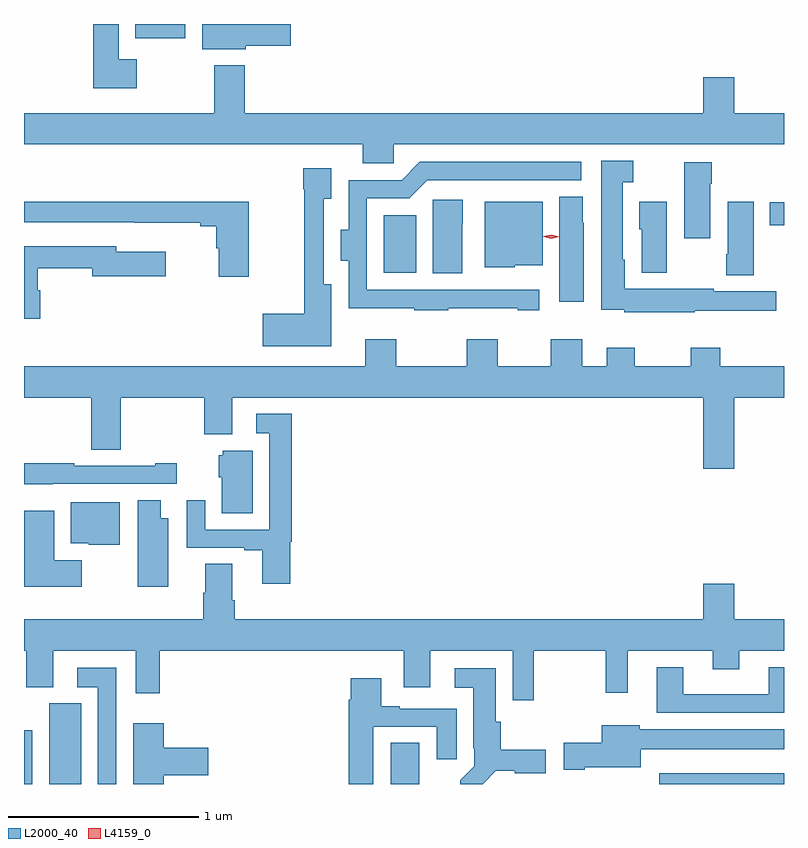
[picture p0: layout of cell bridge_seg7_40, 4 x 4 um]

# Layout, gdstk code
import gdstk
lib = gdstk.Library(unit=1e-6, precision=1e-09)
def R(c, l, rs):  # rectangles x0, y0, x1, y1
    for r in rs: c.add(gdstk.rectangle(r[:2], r[2:], *l))
def P(c, l, *ps):  # polygons
    for p in ps: c.add(gdstk.Polygon(p, *l))
L2000_40 = (2000, 40)
L4159_0 = (4159, 0)

bridge_seg7_40 = lib.new_cell('bridge_seg7_40')
R(bridge_seg7_40, L2000_40, [(892.702,1053.194,892.746,1053.478), (892.835,1053.194,893.002,1053.619), (894.632,1053.194,894.781,1053.41), (896.045,1053.194,896.702,1053.25), (894.596,1055.885,894.766,1056.187), (896.627,1056.135,896.702,1056.256), (893.288,1057.118,893.551,1057.194)])
P(bridge_seg7_40, L2000_40, [(893.296,1057.009),(893.2,1057.009),(893.2,1057.194),(893.066,1057.194),(893.066,1056.857),(893.296,1056.857)],
  [(893.868,1057.079),(894.106,1057.079),(894.106,1057.194),(893.639,1057.194),(893.639,1057.061),(893.868,1057.061)],
  [(894.648,1056.56),(896.702,1056.56),(896.702,1056.724),(896.44,1056.724),(896.44,1056.913),(896.276,1056.913),(896.276,1056.724),(893.864,1056.724),(893.864,1056.976),(893.704,1056.976),(893.704,1056.724),(892.702,1056.724),(892.702,1056.56),(894.485,1056.56),(894.485,1056.462),(894.648,1056.462)],
  [(896.232,1055.686),(896.662,1055.686),(896.662,1055.787),(896.332,1055.787),(896.332,1055.8),(895.864,1055.8),(895.864,1055.952),(895.852,1055.952),(895.852,1056.362),(895.909,1056.362),(895.909,1056.475),(895.739,1056.475),(895.739,1055.69),(895.86,1055.69),(895.86,1055.678),(896.232,1055.678)],
  [(894.935,1055.699),(895.301,1055.699),(895.301,1055.688),(895.414,1055.688),(895.414,1055.796),(894.507,1055.796),(894.507,1056.276),(894.729,1056.276),(894.825,1056.372),(895.636,1056.372),(895.636,1056.468),(894.786,1056.468),(894.69,1056.372),(894.41,1056.372),(894.41,1056.112),(894.368,1056.112),(894.368,1055.948),(894.411,1055.948),(894.411,1055.699),(894.757,1055.699),(894.757,1055.688),(894.935,1055.688)],
  [(896.314,1056.353),(896.322,1056.353),(896.322,1056.466),(896.177,1056.466),(896.177,1056.066),(896.314,1056.066)],
  [(894.319,1055.824),(894.279,1055.824),(894.279,1056.275),(894.319,1056.275),(894.319,1056.436),(894.171,1056.436),(894.171,1056.323),(894.178,1056.323),(894.178,1055.669),(893.958,1055.669),(893.958,1055.498),(894.319,1055.498)],
  [(895.648,1056.147),(895.642,1056.147),(895.642,1056.286),(895.52,1056.286),(895.52,1055.733),(895.648,1055.733)],
  [(895.009,1056.141),(895.012,1056.141),(895.012,1056.268),(894.854,1056.268),(894.854,1055.881),(895.009,1055.881)],
  [(896.542,1056.259),(896.405,1056.259),(896.405,1055.983),(896.398,1055.983),(896.398,1055.872),(896.542,1055.872)],
  [(896.086,1056.259),(895.94,1056.259),(895.94,1056.114),(895.952,1056.114),(895.952,1055.885),(896.086,1055.885)],
  [(893.884,1056.259),(892.702,1056.259),(892.702,1056.15),(893.284,1056.15),(893.284,1056.149),(893.63,1056.149),(893.63,1056.13),(893.714,1056.13),(893.714,1056.015),(893.726,1056.015),(893.726,1055.865),(893.884,1055.865)],
  [(895.284,1055.924),(895.432,1055.924),(895.432,1056.259),(895.127,1056.259),(895.127,1055.915),(895.284,1055.915)],
  [(892.787,1055.793),(892.774,1055.793),(892.774,1055.908),(893.06,1055.908),(893.06,1055.866),(893.449,1055.866),(893.449,1055.995),(893.188,1055.995),(893.188,1056.024),(892.702,1056.024),(892.702,1055.643),(892.787,1055.643)],
  [(896.44,1055.228),(896.702,1055.228),(896.702,1055.392),(896.367,1055.392),(896.367,1055.491),(896.212,1055.491),(896.212,1055.392),(895.917,1055.392),(895.917,1055.491),(895.769,1055.491),(895.769,1055.392),(895.639,1055.392),(895.639,1055.536),(895.475,1055.536),(895.475,1055.392),(895.195,1055.392),(895.195,1055.536),(895.031,1055.536),(895.031,1055.392),(894.661,1055.392),(894.661,1055.536),(894.497,1055.536),(894.497,1055.392),(892.702,1055.392),(892.702,1055.228),(893.056,1055.228),(893.056,1054.954),(893.211,1054.954),(893.211,1055.228),(893.65,1055.228),(893.65,1055.034),(893.797,1055.034),(893.797,1055.228),(896.276,1055.228),(896.276,1054.854),(896.44,1054.854)],
  [(894.104,1054.469),(894.112,1054.469),(894.112,1055.143),(893.925,1055.143),(893.925,1055.04),(893.993,1055.04),(893.993,1054.533),(893.655,1054.533),(893.655,1054.687),(893.559,1054.687),(893.559,1054.437),(893.861,1054.437),(893.861,1054.425),(893.957,1054.425),(893.957,1054.248),(894.104,1054.248)],
  [(893.905,1054.948),(893.748,1054.948),(893.748,1054.923),(893.726,1054.923),(893.726,1054.809),(893.744,1054.809),(893.744,1054.618),(893.905,1054.618)],
  [(892.853,1054.773),(893.506,1054.773),(893.506,1054.882),(893.393,1054.882),(893.393,1054.869),(892.967,1054.869),(892.967,1054.882),(892.702,1054.882),(892.702,1054.772),(892.853,1054.772)],
  [(893.461,1054.594),(893.422,1054.594),(893.422,1054.687),(893.3,1054.687),(893.3,1054.232),(893.461,1054.232)],
  [(893.206,1054.678),(892.949,1054.678),(892.949,1054.46),(893.043,1054.46),(893.043,1054.454),(893.206,1054.454)],
  [(893.005,1054.372),(892.861,1054.372),(892.861,1054.633),(892.702,1054.633),(892.702,1054.232),(893.005,1054.232)],
  [(893.81,1054.16),(893.797,1054.16),(893.797,1054.352),(893.657,1054.352),(893.657,1054.2),(893.645,1054.2),(893.645,1054.06),(892.702,1054.06),(892.702,1053.896),(892.715,1053.896),(892.715,1053.704),(892.855,1053.704),(892.855,1053.896),(893.291,1053.896),(893.291,1053.672),(893.417,1053.672),(893.417,1053.896),(894.701,1053.896),(894.701,1053.702),(894.841,1053.702),(894.841,1053.896),(895.275,1053.896),(895.275,1053.636),(895.384,1053.636),(895.384,1053.896),(895.765,1053.896),(895.765,1053.675),(895.879,1053.675),(895.879,1053.896),(896.327,1053.896),(896.327,1053.797),(896.467,1053.797),(896.467,1053.896),(896.702,1053.896),(896.702,1054.06),(896.44,1054.06),(896.44,1054.249),(896.276,1054.249),(896.276,1054.06),(893.81,1054.06)],
  [(896.702,1053.808),(896.621,1053.808),(896.621,1053.667),(896.173,1053.667),(896.173,1053.808),(896.033,1053.808),(896.033,1053.57),(896.702,1053.57)],
  [(893.187,1053.805),(892.983,1053.805),(892.983,1053.704),(893.091,1053.704),(893.091,1053.194),(893.187,1053.194)],
  [(895.185,1053.263),(895.284,1053.263),(895.284,1053.251),(895.447,1053.251),(895.447,1053.373),(895.212,1053.373),(895.212,1053.522),(895.186,1053.522),(895.186,1053.802),(894.969,1053.802),(894.969,1053.701),(895.067,1053.701),(895.067,1053.382),(895.071,1053.382),(895.071,1053.288),(894.997,1053.214),(894.997,1053.194),(895.117,1053.194)],
  [(894.541,1053.495),(894.875,1053.495),(894.875,1053.324),(894.979,1053.324),(894.979,1053.591),(894.679,1053.591),(894.679,1053.604),(894.583,1053.604),(894.583,1053.751),(894.422,1053.751),(894.422,1053.638),(894.41,1053.638),(894.41,1053.194),(894.541,1053.194)],
  [(893.438,1053.239),(893.671,1053.239),(893.671,1053.386),(893.438,1053.386),(893.438,1053.514),(893.276,1053.514),(893.276,1053.194),(893.438,1053.194)],
  [(895.654,1053.281),(895.948,1053.281),(895.948,1053.377),(896.702,1053.377),(896.702,1053.481),(895.944,1053.481),(895.944,1053.502),(895.742,1053.502),(895.742,1053.411),(895.542,1053.411),(895.542,1053.269),(895.654,1053.269)])
P(bridge_seg7_40, L4159_0, [(895.478,1056.065),(895.438,1056.075),(895.438,1056.076),(895.438,1056.076),(895.478,1056.085),(895.518,1056.075),(895.519,1056.075),(895.518,1056.075)])

lib.write_gds('bridge_seg7_40.gds')
